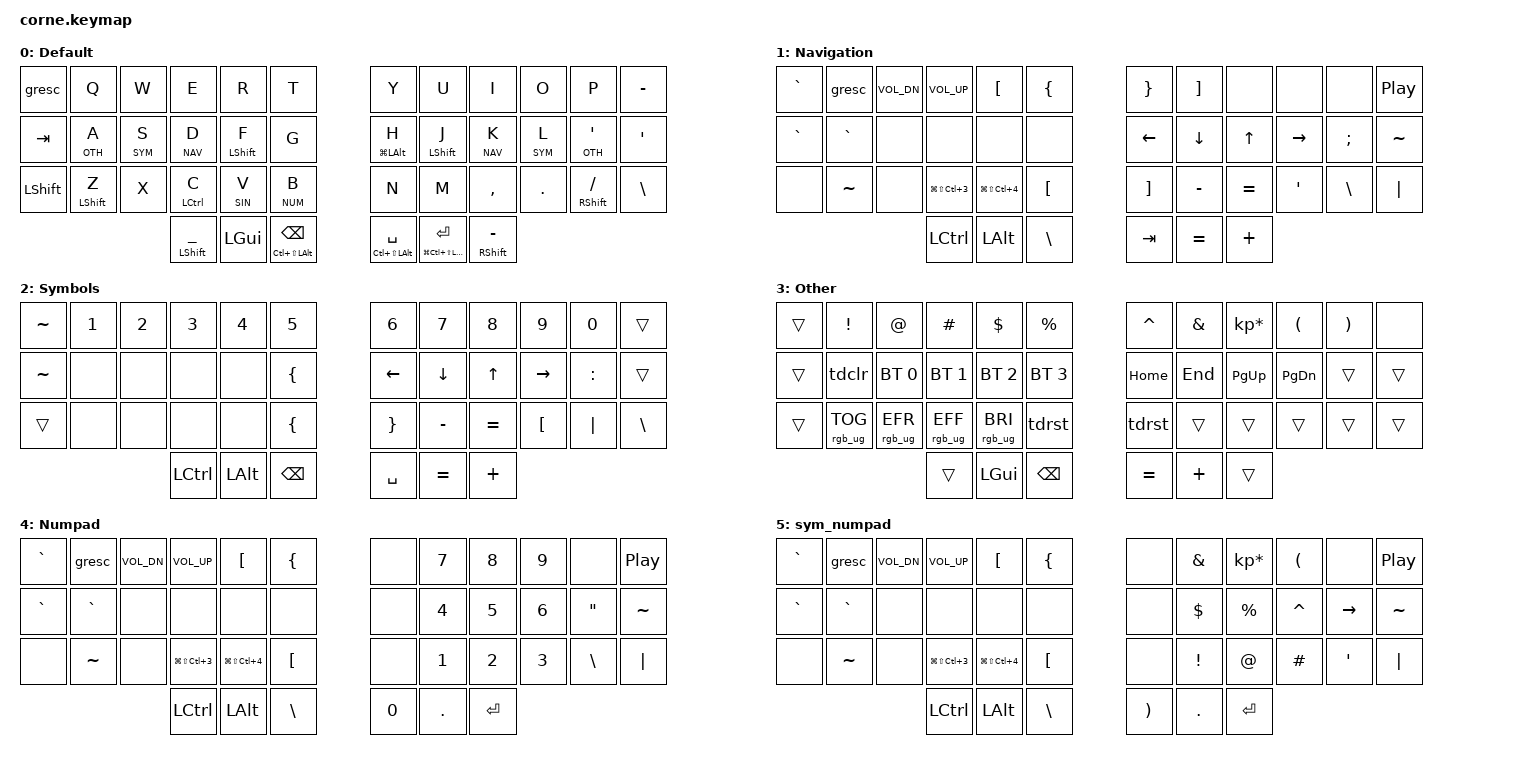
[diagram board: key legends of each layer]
/*
 * Copyright (c) 2020 The ZMK Contributors
 *
 * SPDX-License-Identifier: MIT
 */

#include <behaviors.dtsi>
#include <dt-bindings/zmk/keys.h>
#include <dt-bindings/zmk/rgb.h>
#include <dt-bindings/zmk/bt.h>
#include <dt-bindings/zmk/ext_power.h>
#include <dt-bindings/zmk/outputs.h>


#define TAPPING_TERM 200
#define QUICK_TAP    200

#define DEFAULT 0
#define NAV     1
#define SYM     2
#define OTH     3
#define NUM     4
#define SIN     5


&mt {
	flavor = "tap-preferred";
	tapping-term-ms = <TAPPING_TERM>;
    quick-tap-ms = <QUICK_TAP>;
};

&lt {
	flavor = "tap-preferred";
	tapping-term-ms = <TAPPING_TERM>;
    quick-tap-ms = <QUICK_TAP>;
};
/ {

    behaviors {
        hm: layer_mods {
            compatible = "zmk,behavior-hold-tap";
            label = "LAYER_MODS";
            #binding-cells = <2>;
            tapping-term-ms = <TAPPING_TERM>;
            quick_tap_ms = <QUICK_TAP>;
            flavor = "tap-preferred";
            bindings = <&kp>, <&kp>;
        };
        hs: homerow_shift {
            compatible = "zmk,behavior-hold-tap";
            label = "HOMEROW_SHIFT";
            #binding-cells = <2>;
            tapping-term-ms = <TAPPING_TERM>;
            quick_tap_ms = <QUICK_TAP>;
            flavor = "tap-preferred";
            bindings = <&kp>, <&kp>;
        };
        tdclr: tap_dance_0 {
            compatible = "zmk,behavior-tap-dance";
            label = "TAP_DANCE_0";
            #binding-cells = <0>;
            tapping-term-ms = <200>;
            bindings = <&none>, <&bt BT_CLR>;
        };
        tdrst: tap_dance_1 {
            compatible = "zmk,behavior-tap-dance";
            label = "TAP_DANCE_0";
            #binding-cells = <0>;
            tapping-term-ms = <200>;
            bindings = <&none>, <&bootloader>;
        };

    };

        keymap {
                compatible = "zmk,keymap";

                default_layer {
                    label = "Default";
                        bindings = <
//╭──────────┬──────────┬──────────┬──────────┬──────────┬──────────╮               ╭──────────┬──────────┬──────────┬──────────┬──────────┬──────────╮
    &gresc      &kp Q      &kp W       &kp E      &kp R      &kp T                    &kp Y       &kp U       &kp I     &kp O       &kp P    &kp MINUS
//├──────────┼──────────┼──────────┼──────────┼──────────┼──────────┤               ├──────────┼──────────┼──────────┼──────────┼──────────┼──────────┤
    &kp TAB   &lt OTH A  &lt SYM S   &lt NAV D &hs LSHIFT F  &kp G                 &mt LG(LALT) H  &hs LSHIFT J   &lt NAV K &lt SYM L &lt OTH SQT &kp SQT
//├──────────┼──────────┼──────────┼──────────┼──────────┼──────────┤               ├──────────┼──────────┼──────────┼──────────┼──────────┼──────────┤
   &kp LSHFT &mt LSHIFT Z &kp X        &mt LCTL C &lt SIN V &lt NUM B                      &kp N  &kp M    &kp COMMA &kp DOT &mt RSHIFT FSLH &kp BSLH
//╰──────────┴──────────┴──────────┼──────────┼──────────┼─────────╯               ╰─────────┼─────────────────┼───────────────┼─────────┼──────────╯
                        &mt LSHFT UNDER  &kp LGUI  &mt LC(LS(LALT)) BSPC     &mt LC(LS(LALT)) SPACE &mt LG(LC(LS(LALT))) ENTER  &mt RSHFT MINUS
//                            ╰──────────────┴──────────────┴─────────────────╯    ╰─────────────────────┴───────────────┴───────────────╯
                        >;
                };
                nav_layer {
                    label = "Navigation";
                        bindings = <
//╭──────────┬──────────┬──────────┬──────────┬──────────┬──────────╮               ╭──────────┬──────────┬──────────┬──────────┬──────────┬──────────╮
   &kp GRAVE   &gresc  &kp C_VOL_DN &kp C_VOL_UP &kp LBKT   &kp LBRC                   &kp RBRC   &kp RBKT     &none   &none       &none   &kp C_PLAY_PAUSE
//├──────────┼──────────┼──────────┼──────────┼──────────┼──────────┤               ├──────────┼──────────┼──────────┼──────────┼──────────┼──────────┤
   &kp GRAVE  &kp GRAVE   &none       &none      &none       &none                    &kp LEFT   &kp DOWN    &kp UP    &kp RIGHT   &kp SEMI  &kp TILDE
//├──────────┼──────────┼──────────┼──────────┼──────────┼──────────┤               ├──────────┼──────────┼──────────┼──────────┼──────────┼──────────┤
     &none    &kp TILDE &none &kp LG(LS(LC(N3))) &kp LG(LS(LC(N4))) &kp LBKT          &kp RBKT  &kp MINUS  &kp EQUAL   &kp SQT   &kp BSLH   &kp PIPE
 //╰──────────┴──────────┴──────────┼──────────┼──────────┼─────────╯               ╰─────────┼─────────────────┼───────────────┼─────────┼──────────╯
                                      &kp LCTL  &kp LALT   &kp BSLH                   &kp TAB    &kp EQUAL &kp PLUS
   //                               ╰─────────┴─────────┴───────────╯               ╰─────────┴───────────────┴───────────────╯

                        >;
                };

                sym_layer {
                    label = "Symbols";
                        bindings = <
&kp TILDE &kp N1  &kp N2  &kp N3  &kp N4  &kp N5              &kp N6    &kp N7     &kp N8     &kp N9     &kp N0    &trans
&kp TILDE &none  &none  &none  &none  &kp LBRC             &kp LEFT   &kp DOWN    &kp UP    &kp RIGHT    &kp COLON   &trans
&trans    &none  &none  &none  &none  &kp LBRC            &kp RBRC  &kp MINUS  &kp EQUAL  &kp LBKT   &kp PIPE  &kp BSLH
                &kp LCTL  &kp LALT    &kp BSPC           &kp SPACE    &kp EQUAL &kp PLUS
                        >;
                };
        oth_layer {
            label = "Other";
            bindings = <
    &trans  &kp EXCL &kp AT &kp HASH &kp DOLLAR &kp PRCNT                            &kp CARET &kp AMPS  &kp KP_MULTIPLY &kp LPAR  &kp RPAR &none
    &trans  &tdclr &bt BT_SEL 0 &bt BT_SEL 1 &bt BT_SEL 2 &bt BT_SEL 3         &kp HOME  &kp END   &kp PG_UP     &kp PG_DN &trans   &trans
    &trans  &rgb_ug RGB_TOG &rgb_ug RGB_EFR &rgb_ug RGB_EFF &rgb_ug RGB_BRI  &tdrst                                   &tdrst    &trans   &trans          &trans    &trans   &trans
            &trans    &kp LGUI  &kp BSPC        &kp EQUAL &kp PLUS &trans
                >;
        };
                    num_layer {
                    label = "Numpad";
                        bindings = <
//╭──────────┬──────────┬──────────┬──────────┬──────────┬──────────╮               ╭──────────┬──────────┬──────────┬──────────┬──────────┬──────────╮
   &kp GRAVE   &gresc  &kp C_VOL_DN &kp C_VOL_UP &kp LBKT   &kp LBRC                  &none &kp N7     &kp N8     &kp N9          &none   &kp C_PLAY_PAUSE
//├──────────┼──────────┼──────────┼──────────┼──────────┼──────────┤               ├──────────┼──────────┼──────────┼──────────┼──────────┼──────────┤
   &kp GRAVE  &kp GRAVE   &none       &none      &none       &none                  &none &kp N4  &kp N5  &kp N6      &kp DQT   &kp TILDE
//├──────────┼──────────┼──────────┼──────────┼──────────┼──────────┤               ├──────────┼──────────┼──────────┼──────────┼──────────┼──────────┤
     &none    &kp TILDE &none &kp LG(LS(LC(N3))) &kp LG(LS(LC(N4))) &kp LBKT        &none  &kp N1  &kp N2  &kp N3     &kp BSLH   &kp PIPE
 //╰──────────┴──────────┴──────────┼──────────┼──────────┼─────────╯               ╰─────────┼─────────────────┼───────────────┼─────────┼──────────╯
                                      &kp LCTL  &kp LALT   &kp BSLH                   &kp N0     &kp DOT  &kp ENTER
   //                               ╰─────────┴─────────┴───────────╯               ╰─────────┴───────────────┴───────────────╯

                >;
        };
        symnum_layer {
                    label = "sym_numpad";
                        bindings = <
//╭──────────┬──────────┬──────────┬──────────┬──────────┬──────────╮               ╭──────────┬──────────┬──────────┬──────────┬──────────┬──────────╮
   &kp GRAVE   &gresc  &kp C_VOL_DN &kp C_VOL_UP &kp LBKT   &kp LBRC                 &none  &kp AMPS     &kp KP_MULTIPLY     &kp LPAR          &none   &kp C_PLAY_PAUSE
//├──────────┼──────────┼──────────┼──────────┼──────────┼──────────┤               ├──────────┼──────────┼──────────┼──────────┼──────────┼──────────┤
   &kp GRAVE  &kp GRAVE   &none       &none      &none       &none                  &none &kp DOLLAR  &kp PRCNT  &kp CARET    &kp RIGHT    &kp TILDE
//├──────────┼──────────┼──────────┼──────────┼──────────┼──────────┤               ├──────────┼──────────┼──────────┼──────────┼──────────┼──────────┤
     &none    &kp TILDE &none &kp LG(LS(LC(N3))) &kp LG(LS(LC(N4))) &kp LBKT         &none &kp EXCL  &kp AT  &kp HASH   &kp SQT     &kp PIPE
 //╰──────────┴──────────┴──────────┼──────────┼──────────┼─────────╯               ╰─────────┼─────────────────┼───────────────┼─────────┼──────────╯
                                      &kp LCTL  &kp LALT   &kp BSLH                   &kp RPAR     &kp DOT  &kp ENTER
   //                               ╰─────────┴─────────┴───────────╯               ╰─────────┴───────────────┴───────────────╯

                >;
        };
    };
};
